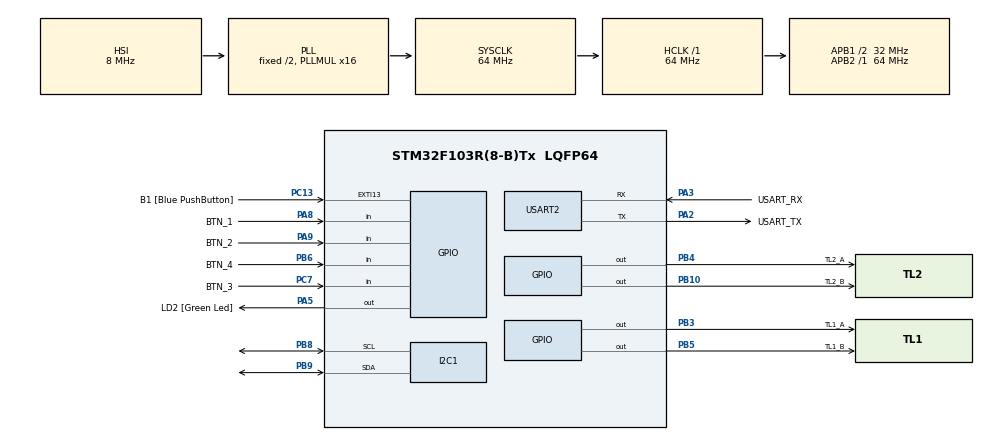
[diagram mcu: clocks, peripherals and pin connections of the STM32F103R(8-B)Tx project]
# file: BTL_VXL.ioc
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Mcu.Family=STM32F1
Mcu.Name=STM32F103R(8-B)Tx
Mcu.Package=LQFP64
NVIC.EXTI15_10_IRQn=true\:0\:0\:false\:false\:true\:true\:true
NVIC.PriorityGroup=NVIC_PRIORITYGROUP_4
NVIC.TIM2_IRQn=true\:0\:0\:false\:false\:true\:true\:true
PA13.GPIO_Label=TMS
PA13.Mode=Serial_Wire
PA13.Signal=SYS_JTMS-SWDIO
PA14.GPIO_Label=TCK
PA14.Mode=Serial_Wire
PA14.Signal=SYS_JTCK-SWCLK
PA2.GPIO_Label=USART_TX
PA2.GPIO_Mode=GPIO_MODE_AF_PP
PA2.GPIO_PuPd=GPIO_NOPULL
PA2.GPIO_Speed=GPIO_SPEED_FREQ_LOW
PA2.Mode=Asynchronous
PA2.Signal=USART2_TX
PA3.GPIO_Label=USART_RX
PA3.GPIO_Mode=GPIO_MODE_AF_PP
PA3.GPIO_PuPd=GPIO_NOPULL
PA3.GPIO_Speed=GPIO_SPEED_FREQ_LOW
PA3.Mode=Asynchronous
PA3.Signal=USART2_RX
PA5.GPIO_Label=LD2 [Green Led]
PA5.GPIO_ModeDefaultOutputPP=GPIO_MODE_OUTPUT_PP
PA5.GPIO_PuPd=GPIO_NOPULL
PA5.GPIO_Speed=GPIO_SPEED_FREQ_LOW
PA5.Signal=GPIO_Output
PA8.GPIO_Label=BTN_1
PA8.GPIO_PuPd=GPIO_PULLUP
PA8.Signal=GPIO_Input
PA9.GPIO_Label=BTN_2
PA9.GPIO_PuPd=GPIO_PULLUP
PA9.Signal=GPIO_Input
PB10.GPIO_Label=TL2_B
PB10.Signal=GPIO_Output
PB3.GPIO_Label=TL1_A
PB3.Signal=GPIO_Output
PB4.GPIO_Label=TL2_A
PB4.Signal=GPIO_Output
PB5.GPIO_Label=TL1_B
PB5.Signal=GPIO_Output
PB6.GPIO_Label=BTN_4
PB6.GPIO_PuPd=GPIO_PULLUP
PB6.Signal=GPIO_Input
PB8.Mode=I2C
PB8.Signal=I2C1_SCL
PB9.Mode=I2C
PB9.Signal=I2C1_SDA
PC13-TAMPER-RTC.GPIO_Label=B1 [Blue PushButton]
PC13-TAMPER-RTC.GPIO_PuPd=GPIO_NOPULL
PC13-TAMPER-RTC.Signal=GPXTI13
PC14-OSC32_IN.Mode=LSE-External-Oscillator
PC14-OSC32_IN.Signal=RCC_OSC32_IN
PC15-OSC32_OUT.Mode=LSE-External-Oscillator
PC15-OSC32_OUT.Signal=RCC_OSC32_OUT
PC7.GPIO_Label=BTN_3
PC7.GPIO_PuPd=GPIO_PULLUP
PC7.Signal=GPIO_Input
PD0-OSC_IN.Mode=HSE-External-Clock-Source
PD0-OSC_IN.Signal=RCC_OSC_IN
PD1-OSC_OUT.Mode=HSE-External-Clock-Source
PD1-OSC_OUT.Signal=RCC_OSC_OUT
ProjectManager.HeapSize=0x200
ProjectManager.StackSize=0x400
ProjectManager.TargetToolchain=STM32CubeIDE
RCC.AHBFreq_Value=64000000
RCC.APB1CLKDivider=RCC_HCLK_DIV2
RCC.APB1Freq_Value=32000000
RCC.APB1TimFreq_Value=64000000
RCC.APB2Freq_Value=64000000
RCC.APB2TimFreq_Value=64000000
RCC.HCLKFreq_Value=64000000
RCC.PLLMUL=RCC_PLL_MUL16
RCC.RTCClockSelection=RCC_RTCCLKSOURCE_LSE
RCC.SYSCLKFreq_VALUE=64000000
RCC.SYSCLKSource=RCC_SYSCLKSOURCE_PLLCLK
RCC.USBFreq_Value=64000000
TIM2.Period=99
TIM2.Prescaler=6399
USART2.VirtualMode=VM_ASYNC
VP_TIM2_VS_ClockSourceINT.Mode=Internal
board=NUCLEO-F103RB

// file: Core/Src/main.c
/* USER CODE BEGIN Header */
/**
 ******************************************************************************
 * @file           : main.c
 * @brief          : Main program body
 ******************************************************************************
 */
/* USER CODE END Header */
#include "main.h"

/* USER CODE BEGIN Includes */
#include "global.h"
#include "scheduler.h"
#include "software_timer.h"
#include "button.h"
#include "traffic_light.h"
#include "dht20.h"
#include "lcd.h"
#include "display.h"
#include "fsm_automatic.h"
#include "fsm_manual.h"
#include "fsm_tuning.h"
/* USER CODE END Includes */

I2C_HandleTypeDef hi2c1;

TIM_HandleTypeDef htim2;

UART_HandleTypeDef huart2;

void SystemClock_Config(void);
static void MX_GPIO_Init(void);
static void MX_USART2_UART_Init(void);
static void MX_I2C1_Init(void);
static void MX_TIM2_Init(void);
/* USER CODE BEGIN PFP */
static void task_heartbeat_led(void);
/* USER CODE END PFP */

/* USER CODE BEGIN 0 */
/* Run every 100 ms: toggle at 1 s with LCD ready, 300 ms with sensor
 * data only, or 100 ms when neither is available. */
static void task_heartbeat_led(void)
{
    static uint8_t heartbeat_ticks = 0;
    uint8_t toggle_period_ticks;

    if (lcd_is_ready() != 0u)
    {
        toggle_period_ticks = 10u;
    }
    else if (dht20_is_valid() != 0u)
    {
        toggle_period_ticks = 3u;
    }
    else
    {
        toggle_period_ticks = 1u;
    }

    heartbeat_ticks++;
    if (heartbeat_ticks >= toggle_period_ticks)
    {
        heartbeat_ticks = 0;
        HAL_GPIO_TogglePin(LD2_GPIO_Port, LD2_Pin);
    }
}

/* USER CODE END 0 */

int main(void)
{

    /* MCU Configuration--------------------------------------------------------*/

    /* Reset of all peripherals, Initializes the Flash interface and the Systick. */
    HAL_Init();

    /* Configure the system clock */
    SystemClock_Config();

    /* Initialize all configured peripherals */
    MX_GPIO_Init();
    MX_USART2_UART_Init();
    MX_I2C1_Init();
    MX_TIM2_Init();
    /* USER CODE BEGIN 2 */
    button_init();
    SCH_Init();
    (void)dht20_init();
    lcd_init();

    SCH_Add_Task(button_read, 0, 10);
    SCH_Add_Task(timerRun, 0, 10);
    SCH_Add_Task(fsm_automatic_run, 10, 10);
    SCH_Add_Task(fsm_manual_run, 10, 10);
    SCH_Add_Task(fsm_tuning_run, 10, 10);
    SCH_Add_Task(dht20_process, 20, 10);
    SCH_Add_Task(display_update, 50, 250);
    SCH_Add_Task(task_heartbeat_led, 0, 100);
    SCH_Add_Task(dht20_start, 100, 2000);

    HAL_TIM_Base_Start_IT(&htim2);
    /* USER CODE END 2 */

    /* Infinite loop */
    /* USER CODE BEGIN WHILE */
    while (1)
    {
        SCH_Dispatch_Tasks();
        /* USER CODE END WHILE */

    }
}

void SystemClock_Config(void)
{
    RCC_OscInitTypeDef RCC_OscInitStruct = {0};
    RCC_ClkInitTypeDef RCC_ClkInitStruct = {0};

    /** Initializes the RCC Oscillators according to the specified parameters
     * in the RCC_OscInitTypeDef structure.
     */
    RCC_OscInitStruct.OscillatorType = RCC_OSCILLATORTYPE_HSI;
    RCC_OscInitStruct.HSIState = RCC_HSI_ON;
    RCC_OscInitStruct.HSICalibrationValue = RCC_HSICALIBRATION_DEFAULT;
    RCC_OscInitStruct.PLL.PLLState = RCC_PLL_ON;
    RCC_OscInitStruct.PLL.PLLSource = RCC_PLLSOURCE_HSI_DIV2;
    RCC_OscInitStruct.PLL.PLLMUL = RCC_PLL_MUL16;
    if (HAL_RCC_OscConfig(&RCC_OscInitStruct) != HAL_OK)
    {
        Error_Handler();
    }
    /** Initializes the CPU, AHB and APB buses clocks
     */
    RCC_ClkInitStruct.ClockType = RCC_CLOCKTYPE_HCLK | RCC_CLOCKTYPE_SYSCLK
        | RCC_CLOCKTYPE_PCLK1 | RCC_CLOCKTYPE_PCLK2;
    RCC_ClkInitStruct.SYSCLKSource = RCC_SYSCLKSOURCE_PLLCLK;
    RCC_ClkInitStruct.AHBCLKDivider = RCC_SYSCLK_DIV1;
    RCC_ClkInitStruct.APB1CLKDivider = RCC_HCLK_DIV2;
    RCC_ClkInitStruct.APB2CLKDivider = RCC_HCLK_DIV1;

    if (HAL_RCC_ClockConfig(&RCC_ClkInitStruct, FLASH_LATENCY_2) != HAL_OK)
    {
        Error_Handler();
    }
}

static void MX_I2C1_Init(void)
{

    hi2c1.Instance = I2C1;
    hi2c1.Init.ClockSpeed = 100000;
    hi2c1.Init.DutyCycle = I2C_DUTYCYCLE_2;
    hi2c1.Init.OwnAddress1 = 0;
    hi2c1.Init.AddressingMode = I2C_ADDRESSINGMODE_7BIT;
    hi2c1.Init.DualAddressMode = I2C_DUALADDRESS_DISABLE;
    hi2c1.Init.OwnAddress2 = 0;
    hi2c1.Init.GeneralCallMode = I2C_GENERALCALL_DISABLE;
    hi2c1.Init.NoStretchMode = I2C_NOSTRETCH_DISABLE;
    if (HAL_I2C_Init(&hi2c1) != HAL_OK)
    {
        Error_Handler();
    }
}

static void MX_TIM2_Init(void)
{

    TIM_ClockConfigTypeDef sClockSourceConfig = {0};
    TIM_MasterConfigTypeDef sMasterConfig = {0};

    htim2.Instance = TIM2;
    htim2.Init.Prescaler = 6399;
    htim2.Init.CounterMode = TIM_COUNTERMODE_UP;
    htim2.Init.Period = 99;
    htim2.Init.ClockDivision = TIM_CLOCKDIVISION_DIV1;
    htim2.Init.AutoReloadPreload = TIM_AUTORELOAD_PRELOAD_DISABLE;
    if (HAL_TIM_Base_Init(&htim2) != HAL_OK)
    {
        Error_Handler();
    }
    sClockSourceConfig.ClockSource = TIM_CLOCKSOURCE_INTERNAL;
    if (HAL_TIM_ConfigClockSource(&htim2, &sClockSourceConfig) != HAL_OK)
    {
        Error_Handler();
    }
    sMasterConfig.MasterOutputTrigger = TIM_TRGO_RESET;
    sMasterConfig.MasterSlaveMode = TIM_MASTERSLAVEMODE_DISABLE;
    if (HAL_TIMEx_MasterConfigSynchronization(&htim2, &sMasterConfig) != HAL_OK)
    {
        Error_Handler();
    }
}

static void MX_USART2_UART_Init(void)
{

    huart2.Instance = USART2;
    huart2.Init.BaudRate = 115200;
    huart2.Init.WordLength = UART_WORDLENGTH_8B;
    huart2.Init.StopBits = UART_STOPBITS_1;
    huart2.Init.Parity = UART_PARITY_NONE;
    huart2.Init.Mode = UART_MODE_TX_RX;
    huart2.Init.HwFlowCtl = UART_HWCONTROL_NONE;
    huart2.Init.OverSampling = UART_OVERSAMPLING_16;
    if (HAL_UART_Init(&huart2) != HAL_OK)
    {
        Error_Handler();
    }
}

static void MX_GPIO_Init(void)
{
    GPIO_InitTypeDef GPIO_InitStruct = {0};

    /* GPIO Ports Clock Enable */
    __HAL_RCC_GPIOC_CLK_ENABLE();
    __HAL_RCC_GPIOD_CLK_ENABLE();
    __HAL_RCC_GPIOA_CLK_ENABLE();
    __HAL_RCC_GPIOB_CLK_ENABLE();

    /*Configure GPIO pin Output Level */
    HAL_GPIO_WritePin(LD2_GPIO_Port, LD2_Pin, GPIO_PIN_RESET);

    /*Configure GPIO pin Output Level */
    HAL_GPIO_WritePin(GPIOB, TL2_B_Pin | TL1_A_Pin | TL2_A_Pin | TL1_B_Pin, GPIO_PIN_RESET);

    /*Configure GPIO pin : B1_Pin */
    GPIO_InitStruct.Pin = B1_Pin;
    GPIO_InitStruct.Mode = GPIO_MODE_IT_RISING;
    GPIO_InitStruct.Pull = GPIO_NOPULL;
    HAL_GPIO_Init(B1_GPIO_Port, &GPIO_InitStruct);

    /*Configure GPIO pin : LD2_Pin */
    GPIO_InitStruct.Pin = LD2_Pin;
    GPIO_InitStruct.Mode = GPIO_MODE_OUTPUT_PP;
    GPIO_InitStruct.Pull = GPIO_NOPULL;
    GPIO_InitStruct.Speed = GPIO_SPEED_FREQ_LOW;
    HAL_GPIO_Init(LD2_GPIO_Port, &GPIO_InitStruct);

    /*Configure GPIO pins : TL2_B_Pin TL1_A_Pin TL2_A_Pin TL1_B_Pin */
    GPIO_InitStruct.Pin = TL2_B_Pin | TL1_A_Pin | TL2_A_Pin | TL1_B_Pin;
    GPIO_InitStruct.Mode = GPIO_MODE_OUTPUT_PP;
    GPIO_InitStruct.Pull = GPIO_NOPULL;
    GPIO_InitStruct.Speed = GPIO_SPEED_FREQ_LOW;
    HAL_GPIO_Init(GPIOB, &GPIO_InitStruct);

    /*Configure GPIO pin : BTN_3_Pin */
    GPIO_InitStruct.Pin = BTN_3_Pin;
    GPIO_InitStruct.Mode = GPIO_MODE_INPUT;
    GPIO_InitStruct.Pull = GPIO_PULLUP;
    HAL_GPIO_Init(BTN_3_GPIO_Port, &GPIO_InitStruct);

    /*Configure GPIO pins : BTN_1_Pin BTN_2_Pin */
    GPIO_InitStruct.Pin = BTN_1_Pin | BTN_2_Pin;
    GPIO_InitStruct.Mode = GPIO_MODE_INPUT;
    GPIO_InitStruct.Pull = GPIO_PULLUP;
    HAL_GPIO_Init(GPIOA, &GPIO_InitStruct);

    /*Configure GPIO pin : BTN_4_Pin */
    GPIO_InitStruct.Pin = BTN_4_Pin;
    GPIO_InitStruct.Mode = GPIO_MODE_INPUT;
    GPIO_InitStruct.Pull = GPIO_PULLUP;
    HAL_GPIO_Init(BTN_4_GPIO_Port, &GPIO_InitStruct);

    /* EXTI interrupt init*/
    HAL_NVIC_SetPriority(EXTI15_10_IRQn, 0, 0);
    HAL_NVIC_EnableIRQ(EXTI15_10_IRQn);
}

/* USER CODE BEGIN 4 */
void HAL_TIM_PeriodElapsedCallback(TIM_HandleTypeDef *htim)
{
    if (htim->Instance == TIM2)
    {
        timerTick(); /* Record elapsed ticks independently of scheduled I2C work. */
        SCH_Update(); /* O(1) */
    }
}
/* USER CODE END 4 */

void Error_Handler(void)
{
    __disable_irq();
    while (1)
    {
    }
}

#ifdef  USE_FULL_ASSERT
/**
 * @brief  Reports the name of the source file and the source line number
 *         where the assert_param error has occurred.
 * @param  file: pointer to the source file name
 * @param  line: assert_param error line source number
 * @retval None
 */
void assert_failed(uint8_t *file, uint32_t line)
{
    /* USER CODE BEGIN 6 */
    /* User can add his own implementation to report the file name and line number,
     * ex: printf("Wrong parameters value: file %s on line %d\r\n", file, line) */
    /* USER CODE END 6 */
}
#endif /* USE_FULL_ASSERT */

/************************ (C) COPYRIGHT STMicroelectronics *****END OF FILE****/
